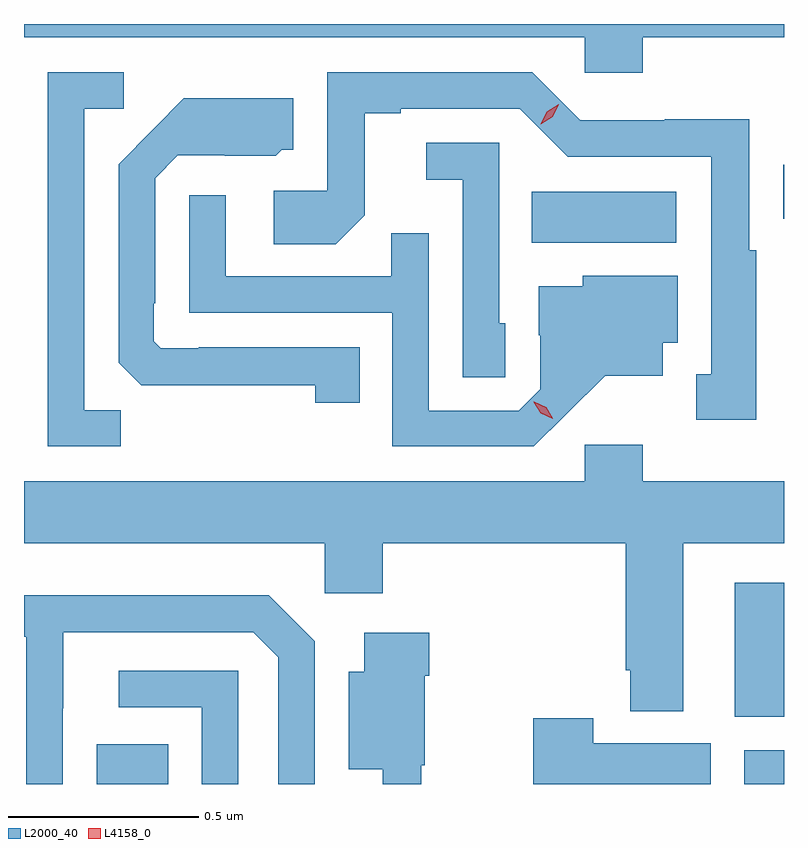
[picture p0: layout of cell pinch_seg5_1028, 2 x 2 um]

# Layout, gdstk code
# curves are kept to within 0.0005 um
import gdstk
lib = gdstk.Library(unit=1e-6, precision=1e-09)
def R(c, l, rs):  # rectangles x0, y0, x1, y1
    for r in rs: c.add(gdstk.rectangle(r[:2], r[2:], *l))
def P(c, l, *ps):  # polygons
    for p in ps: c.add(gdstk.Polygon(p, *l))
L2000_40 = (2000, 40)
L4158_0 = (4158, 0)

pinch_seg5_1028 = lib.new_cell('pinch_seg5_1028')
R(pinch_seg5_1028, L2000_40, [(736.733,841.475,736.921,841.579), (738.437,841.475,738.542,841.564), (738.413,841.652,738.542,842.005), (737.878,842.9,738.259,843.034), (738.54,842.963,738.542,843.105)])
P(pinch_seg5_1028, L2000_40, [(738.17,843.44),(738.542,843.44),(738.542,843.475),(736.542,843.475),(736.542,843.44),(738.018,843.44),(738.018,843.347),(738.17,843.347)],
  [(736.797,842.459),(736.701,842.459),(736.701,843.252),(736.804,843.252),(736.804,843.348),(736.605,843.348),(736.605,842.364),(736.797,842.364)],
  [(738.469,842.879),(738.451,842.879),(738.451,843.224),(738.228,843.224),(738.228,843.222),(738.006,843.222),(737.88,843.348),(737.34,843.348),(737.34,843.036),(737.199,843.036),(737.199,842.896),(737.363,842.896),(737.439,842.972),(737.439,843.24),(737.533,843.24),(737.533,843.252),(737.847,843.252),(737.973,843.126),(738.35,843.126),(738.35,842.553),(738.311,842.553),(738.311,842.433),(738.469,842.433)],
  [(737.426,842.625),(737.002,842.625),(737.002,842.622),(736.902,842.622),(736.884,842.64),(736.884,842.74),(736.887,842.74),(736.887,843.069),(736.947,843.129),(737.07,843.129),(737.07,843.128),(737.204,843.128),(737.22,843.144),(737.251,843.144),(737.251,843.28),(736.963,843.28),(736.791,843.106),(736.791,842.584),(736.85,842.525),(736.951,842.525),(736.951,842.524),(737.308,842.524),(737.308,842.478),(737.426,842.478)],
  [(737.808,842.688),(737.793,842.688),(737.793,843.162),(737.601,843.162),(737.601,843.065),(737.697,843.065),(737.697,842.545),(737.808,842.545)],
  [(737.968,842.447),(738.071,842.549),(738.223,842.549),(738.223,842.636),(738.262,842.636),(738.262,842.812),(738.012,842.812),(738.012,842.785),(737.897,842.785),(737.897,842.656),(737.901,842.656),(737.901,842.514),(737.844,842.457),(737.607,842.457),(737.607,842.924),(737.509,842.924),(737.509,842.811),(737.073,842.811),(737.073,843.025),(736.977,843.025),(736.977,842.715),(737.511,842.715),(737.511,842.364),(737.884,842.364)],
  [(738.277,842.108),(738.542,842.108),(738.542,842.272),(738.17,842.272),(738.17,842.368),(738.018,842.368),(738.018,842.272),(736.542,842.272),(736.542,842.108),(737.334,842.108),(737.334,841.977),(737.486,841.977),(737.486,842.108),(738.125,842.108),(738.125,841.774),(738.137,841.774),(738.137,841.667),(738.277,841.667)],
  [(736.644,841.675),(736.645,841.675),(736.645,841.875),(737.145,841.875),(737.211,841.809),(737.211,841.475),(737.307,841.475),(737.307,841.851),(737.186,841.972),(736.542,841.972),(736.542,841.862),(736.548,841.862),(736.548,841.475),(736.644,841.475)],
  [(737.588,841.524),(737.596,841.524),(737.596,841.76),(737.609,841.76),(737.609,841.873),(737.438,841.873),(737.438,841.771),(737.396,841.771),(737.396,841.514),(737.486,841.514),(737.486,841.475),(737.588,841.475)],
  [(737.106,841.773),(736.791,841.773),(736.791,841.677),(737.01,841.677),(737.01,841.475),(737.106,841.475)],
  [(738.349,841.582),(738.04,841.582),(738.04,841.648),(737.882,841.648),(737.882,841.475),(738.349,841.475)])
P(pinch_seg5_1028, L4158_0, [(737.933,842.436),(737.902,842.451),(737.884,842.48),(737.884,842.481),(737.885,842.481),(737.916,842.466),(737.933,842.437),(737.933,842.436)],
  [(737.902,843.211),(737.902,843.211),(737.918,843.244),(737.949,843.264),(737.949,843.264),(737.949,843.263),(737.933,843.231),(737.902,843.211)])

lib.write_gds('pinch_seg5_1028.gds')
